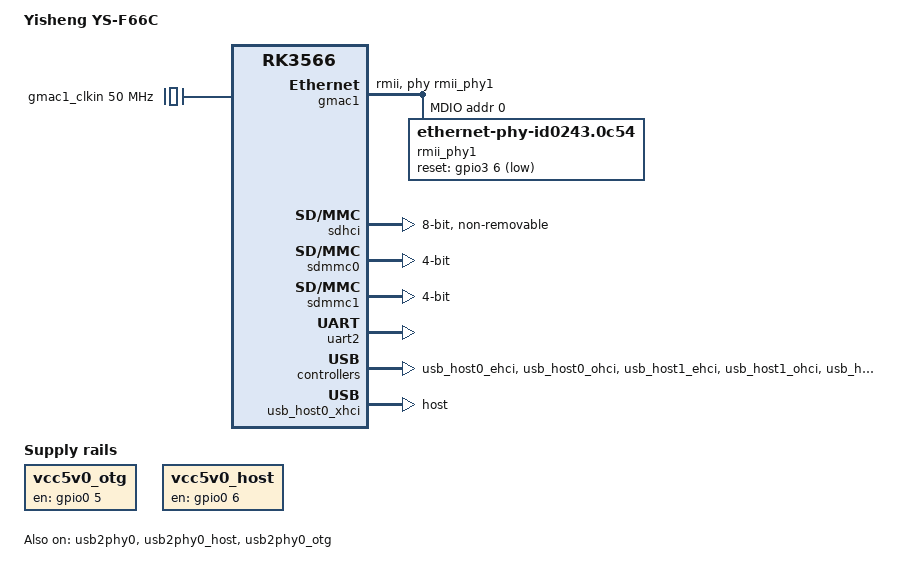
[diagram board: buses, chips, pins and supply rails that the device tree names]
// SPDX-License-Identifier: (GPL-2.0+ OR MIT)
/*
 * Yisheng YS-F66C (RK3566, 4+32G, 10.1" MIPI, IP101GR PHY)
 */

/dts-v1/;
#include "rk3566.dtsi"
#include <dt-bindings/gpio/gpio.h>

/ {
	model = "Yisheng YS-F66C";
	compatible = "rockchip,rk3566-ys-f66c", "rockchip,rk3566";

	aliases {
		ethernet0 = &gmac1;
		mmc0 = &sdhci;
		mmc1 = &sdmmc0;
		mmc2 = &sdmmc1;
	};

	chosen: chosen {
		stdout-path = "serial2:1500000n8";
	};

	gmac1_clkin: external-gmac1-clock {
		compatible = "fixed-clock";
		clock-frequency = <50000000>;
		clock-output-names = "gmac1_clkin";
		#clock-cells = <0>;
	};

	vcc5v0_otg: vcc5v0-otg-regulator {
		compatible = "regulator-fixed";
		enable-active-high;
		gpio = <&gpio0 5 GPIO_ACTIVE_HIGH>;
		pinctrl-names = "default";
		pinctrl-0 = <&vcc5v0_otg_en>;
		regulator-name = "vcc5v0_otg";
		regulator-always-on;
		regulator-boot-on;
	};

	vcc5v0_host: vcc5v0-host-regulator {
		compatible = "regulator-fixed";
		enable-active-high;
		gpio = <&gpio0 6 GPIO_ACTIVE_HIGH>;
		regulator-name = "vcc5v0_host";
		regulator-always-on;
		regulator-boot-on;
	};
};

&gmac1 {
	assigned-clocks = <&cru SCLK_GMAC1_RX_TX>, <&cru SCLK_GMAC1>;
	assigned-clock-parents = <&cru SCLK_GMAC1_RMII_SPEED>, <&gmac1_clkin>;
	clock_in_out = "input";
	phy-handle = <&rmii_phy1>;
	phy-mode = "rmii";
	pinctrl-names = "default";
	pinctrl-0 = <&gmac1m0_miim
		     &gmac1m0_tx_bus2
		     &gmac1m0_rx_bus2
		     &gmac1m0_clkinout>;
	status = "okay";

	mdio {
		compatible = "snps,dwmac-mdio";
		#address-cells = <1>;
		#size-cells = <0>;

		rmii_phy1: ethernet-phy@1 {
			compatible = "ethernet-phy-id0243.0c54";
			reg = <0>;
			reset-gpios = <&gpio3 6 GPIO_ACTIVE_LOW>;
			reset-assert-us = <20000>;
			reset-deassert-us = <100000>;
		};
	};
};

&sdhci {
	bus-width = <8>;
	mmc-hs200-1_8v;
	non-removable;
	status = "okay";
};

&sdmmc0 {
	bus-width = <4>;
	status = "okay";
};

&sdmmc1 {
	bus-width = <4>;
	status = "okay";
};

&uart2 {
	status = "okay";
};

&usb_host0_ehci {
	status = "okay";
};

&usb_host0_ohci {
	status = "okay";
};

&usb_host0_xhci {
	dr_mode = "host";
	status = "okay";
};

&usb_host1_ehci {
	status = "okay";
};

&usb_host1_ohci {
	status = "okay";
};

&usb_host1_xhci {
	status = "okay";
};

&usb2phy0 {
	status = "okay";
};

&usb2phy0_host {
	phy-supply = <&vcc5v0_host>;
	status = "okay";
};

&usb2phy0_otg {
	phy-supply = <&vcc5v0_otg>;
	status = "okay";
};

&pinctrl {
	usb {
		vcc5v0_otg_en: vcc5v0-otg-en {
			rockchip,pins = <0 5 0 &pcfg_pull_none>;
		};
	};
};
